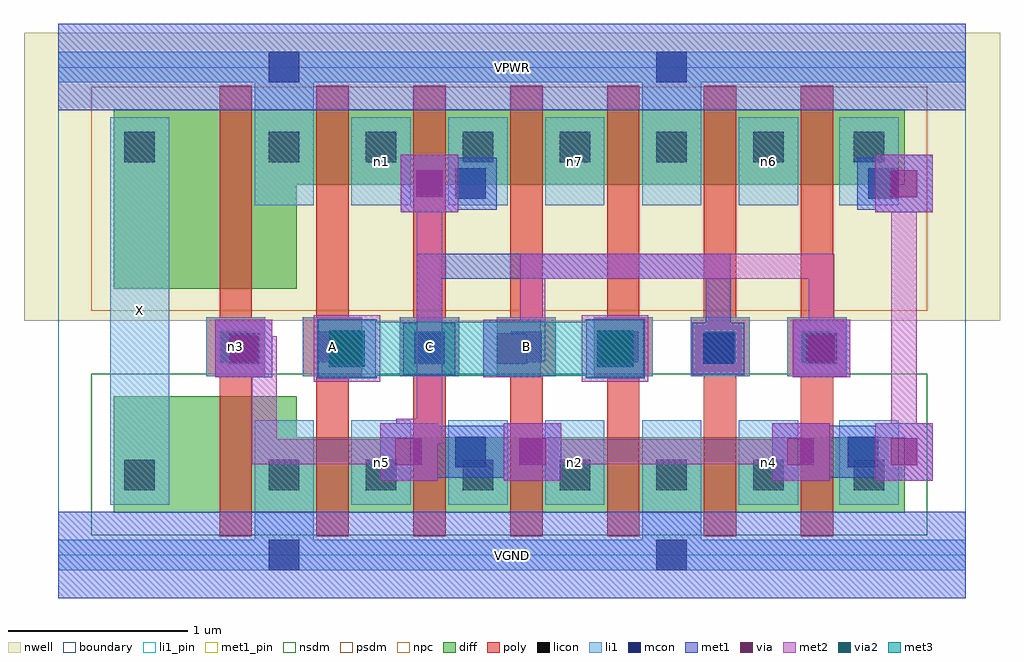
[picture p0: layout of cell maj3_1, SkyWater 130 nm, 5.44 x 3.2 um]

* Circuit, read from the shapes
.subckt maj3_1 A B C VGND VPWR X n1 n2 n3 n4 n5 n6 n7
XM1 VGND n3 X VSUBS sky130_fd_pr__nfet_01v8 w=0.65 l=0.18
XM2 n5 A VGND VSUBS sky130_fd_pr__nfet_01v8 w=0.42 l=0.18
XM3 n3 C n5 VSUBS sky130_fd_pr__nfet_01v8 w=0.42 l=0.18
XM4 n2 B n3 VSUBS sky130_fd_pr__nfet_01v8 w=0.42 l=0.18
XM5 VGND A n2 VSUBS sky130_fd_pr__nfet_01v8 w=0.42 l=0.18
XM6 n4 C VGND VSUBS sky130_fd_pr__nfet_01v8 w=0.42 l=0.18
XM7 n3 B n4 VSUBS sky130_fd_pr__nfet_01v8 w=0.42 l=0.18
XM8 VPWR n3 X n8 sky130_fd_pr__pfet_01v8 w=1 l=0.18
XM9 n1 A VPWR n8 sky130_fd_pr__pfet_01v8 w=0.42 l=0.18
XM10 n3 C n1 n8 sky130_fd_pr__pfet_01v8 w=0.42 l=0.18
XM11 n7 B n3 n8 sky130_fd_pr__pfet_01v8 w=0.42 l=0.18
XM12 VPWR A n7 n8 sky130_fd_pr__pfet_01v8 w=0.42 l=0.18
XM13 n6 C VPWR n8 sky130_fd_pr__pfet_01v8 w=0.42 l=0.18
XM14 n3 B n6 n8 sky130_fd_pr__pfet_01v8 w=0.42 l=0.18
.ends

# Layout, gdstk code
import gdstk
lib = gdstk.Library(unit=1e-6, precision=1e-09)
def R(c, l, rs):  # rectangles x0, y0, x1, y1
    for r in rs: c.add(gdstk.rectangle(r[:2], r[2:], *l))
def A(c, l, x, y, w, h, nx, ny, dx, dy):  # array of equal rectangles
    R(c, l, [(x+i*dx, y+j*dy, x+i*dx+w, y+j*dy+h) for i in range(nx) for j in range(ny)])
nwell = (64, 20)
diff = (65, 20)
poly = (66, 20)
licon = (66, 44)
li1_pin = (67, 16)
li1 = (67, 20)
mcon = (67, 44)
met1_pin = (68, 16)
met1 = (68, 20)
via = (68, 44)
met2 = (69, 20)
via2 = (69, 44)
met3 = (70, 20)
nsdm = (93, 44)
psdm = (94, 20)
npc = (95, 20)
boundary = (235, 4)

maj3_1 = lib.new_cell('maj3_1')
R(maj3_1, nwell, [(-0.19,1.305,5.25,2.91), (0,1.305,5.06,2.91)])
R(maj3_1, diff, [(0.31,0.235,1.33,0.885), (1.08,0.235,4.72,0.655), (0.31,1.485,1.33,2.485), (1.08,2.065,4.72,2.485)])
A(maj3_1, poly, 0.9, 0.105, 0.18, 2.51, 7, 1, 0.54, 0)
A(maj3_1, poly, 0.825, 0.995, 0.33, 0.33, 7, 1, 0.54, 0)
A(maj3_1, licon, 1.175, 0.36, 0.17, 0.17, 6, 2, 0.54, 1.83)
A(maj3_1, licon, 0.905, 1.075, 0.17, 0.17, 7, 1, 0.54, 0)
R(maj3_1, licon, [(0.37,0.36,0.54,0.53), (4.435,0.36,4.605,0.53), (0.37,2.19,0.54,2.36), (4.435,2.19,4.605,2.36)])
A(maj3_1, li1_pin, 1.365, 0.995, 0.33, 0.33, 3, 1, 0.54, 0)
R(maj3_1, li1_pin, [(0.29,0.28,0.62,2.44)])
A(maj3_1, li1, 1.635, 0.28, 0.33, 0.47, 3, 1, 0.54, 0)
A(maj3_1, li1, 0.825, 0.995, 0.33, 0.33, 7, 1, 0.54, 0)
A(maj3_1, li1, 1.635, 1.95, 0.33, 0.49, 3, 1, 0.54, 0)
R(maj3_1, li1, [(0,-0.085,5.06,0.085), (1.095,-0.085,1.425,0.75), (3.255,-0.085,3.585,0.75), (0.29,0.28,0.62,2.44), (3.795,0.28,4.125,0.75), (4.355,0.28,4.685,0.75), (1.095,1.95,1.425,2.805), (3.255,1.95,3.585,2.805), (3.795,1.95,4.125,2.44), (4.355,1.95,4.685,2.44), (0,2.635,5.06,2.805)])
A(maj3_1, mcon, 1.525, 1.065, 0.17, 0.17, 3, 1, 0.46, 0)
A(maj3_1, mcon, 3.02, 1.065, 0.17, 0.17, 3, 1, 0.575, 0)
R(maj3_1, mcon, [(1.175,-0.085,1.345,0.085), (3.335,-0.085,3.505,0.085), (2.215,0.49,2.385,0.66), (4.4,0.49,4.57,0.66), (0.95,1.065,1.12,1.235), (2.215,1.985,2.385,2.155), (4.515,1.985,4.685,2.155), (1.175,2.635,1.345,2.805), (3.335,2.635,3.505,2.805)])
R(maj3_1, met1_pin, [(0,-0.24,5.06,0.24), (0,2.48,5.06,2.96)])
A(maj3_1, met1, 1.465, 1.005, 0.29, 0.29, 3, 1, 0.46, 0)
A(maj3_1, met1, 2.96, 1.005, 0.29, 0.29, 3, 1, 0.575, 0)
R(maj3_1, met1, [(0,-0.24,5.06,0.24), (1.795,0.415,2.115,0.735), (2.485,0.415,2.805,0.735), (3.98,0.415,4.3,0.735), (4.555,0.415,4.875,0.735), (2.115,0.43,2.155,0.72), (2.155,0.43,2.445,0.72), (2.445,0.43,2.485,0.72), (4.3,0.43,4.34,0.72), (4.34,0.43,4.63,0.72), (1.885,0.505,2.37,0.645), (2.23,0.505,2.715,0.645), (4.07,0.505,4.555,0.645), (4.415,0.505,4.785,0.645), (0.875,0.99,1.195,1.31), (1.45,0.99,1.77,1.31), (2.37,0.99,2.69,1.31), (2.945,0.99,3.265,1.31), (4.095,0.99,4.415,1.31), (0.89,1.005,1.18,1.295), (2,1.08,2.14,1.68), (3.61,1.08,3.75,1.68), (2,1.54,3.75,1.68), (1.91,1.91,2.23,2.23), (4.555,1.91,4.875,2.23), (2.155,1.925,2.445,2.215), (4.455,1.925,4.745,2.215), (2,2,2.37,2.14), (4.53,2,4.785,2.14), (0,2.48,5.06,2.96)])
R(maj3_1, via, [(1.88,0.5,2.03,0.65), (2.57,0.5,2.72,0.65), (4.065,0.5,4.215,0.65), (4.64,0.5,4.79,0.65), (0.96,1.075,1.11,1.225), (1.535,1.075,1.685,1.225), (2.455,1.075,2.605,1.225), (3.03,1.075,3.18,1.225), (4.18,1.075,4.33,1.225), (1.995,1.995,2.145,2.145), (4.64,1.995,4.79,2.145)])
R(maj3_1, met2, [(1.795,0.415,2.115,0.735), (2.485,0.415,2.805,0.735), (3.98,0.415,4.3,0.735), (4.555,0.415,4.875,0.735), (1.08,0.505,1.22,1.22), (1.08,0.505,2.025,0.645), (1.885,0.505,2.025,0.76), (2.575,0.505,4.21,0.645), (4.645,0.505,4.785,2.14), (1.885,0.62,2.14,0.76), (2,0.62,2.14,2.14), (1.425,0.965,1.795,1.335), (2.92,0.965,3.29,1.335), (0.875,0.99,1.195,1.31), (1.45,0.99,1.77,1.31), (2.37,0.99,2.69,1.31), (2.945,0.99,3.265,1.31), (4.095,0.99,4.415,1.31), (0.965,1.08,1.22,1.22), (2.46,1.08,2.715,1.22), (2.575,1.08,2.715,1.68), (4.185,1.08,4.325,1.68), (2.575,1.54,4.325,1.68), (1.91,1.91,2.23,2.23), (4.555,1.91,4.875,2.23)])
R(maj3_1, via2, [(1.51,1.05,1.71,1.25), (3.005,1.05,3.205,1.25)])
R(maj3_1, met3, [(1.445,0.985,1.775,1.315), (2.94,0.985,3.27,1.315), (1.46,1,3.255,1.3)])
R(maj3_1, nsdm, [(0.185,0.11,4.845,1.01)])
R(maj3_1, psdm, [(0.185,1.36,4.845,2.61)])
A(maj3_1, npc, 0.825, 0.995, 0.33, 0.33, 7, 1, 0.54, 0)
R(maj3_1, boundary, [(0,0,5.06,2.72)])
maj3_1.add(gdstk.Label('A', (1.53,1.16), layer=67, texttype=5))
maj3_1.add(gdstk.Label('B', (2.61,1.16), layer=67, texttype=5))
maj3_1.add(gdstk.Label('C', (2.07,1.16), layer=67, texttype=5))
maj3_1.add(gdstk.Label('X', (0.455,1.36), layer=67, texttype=5))
maj3_1.add(gdstk.Label('n3', (0.99,1.16), layer=67, texttype=5))
maj3_1.add(gdstk.Label('n5', (1.8,0.515), layer=67, texttype=5))
maj3_1.add(gdstk.Label('n2', (2.88,0.515), layer=67, texttype=5))
maj3_1.add(gdstk.Label('n4', (3.96,0.515), layer=67, texttype=5))
maj3_1.add(gdstk.Label('n1', (1.8,2.195), layer=67, texttype=5))
maj3_1.add(gdstk.Label('n7', (2.88,2.195), layer=67, texttype=5))
maj3_1.add(gdstk.Label('n6', (3.96,2.195), layer=67, texttype=5))
maj3_1.add(gdstk.Label('VPWR', (2.53,2.72), layer=68, texttype=5))
maj3_1.add(gdstk.Label('VGND', (2.53,0), layer=68, texttype=5))
maj3_1.add(gdstk.Label('A', (1.53,1.16), layer=67, texttype=16))
maj3_1.add(gdstk.Label('B', (2.61,1.16), layer=67, texttype=16))
maj3_1.add(gdstk.Label('C', (2.07,1.16), layer=67, texttype=16))
maj3_1.add(gdstk.Label('X', (0.455,1.36), layer=67, texttype=16))
maj3_1.add(gdstk.Label('VPWR', (2.53,2.72), layer=68, texttype=16))
maj3_1.add(gdstk.Label('VGND', (2.53,0), layer=68, texttype=16))

lib.write_gds('maj3_1.gds')
